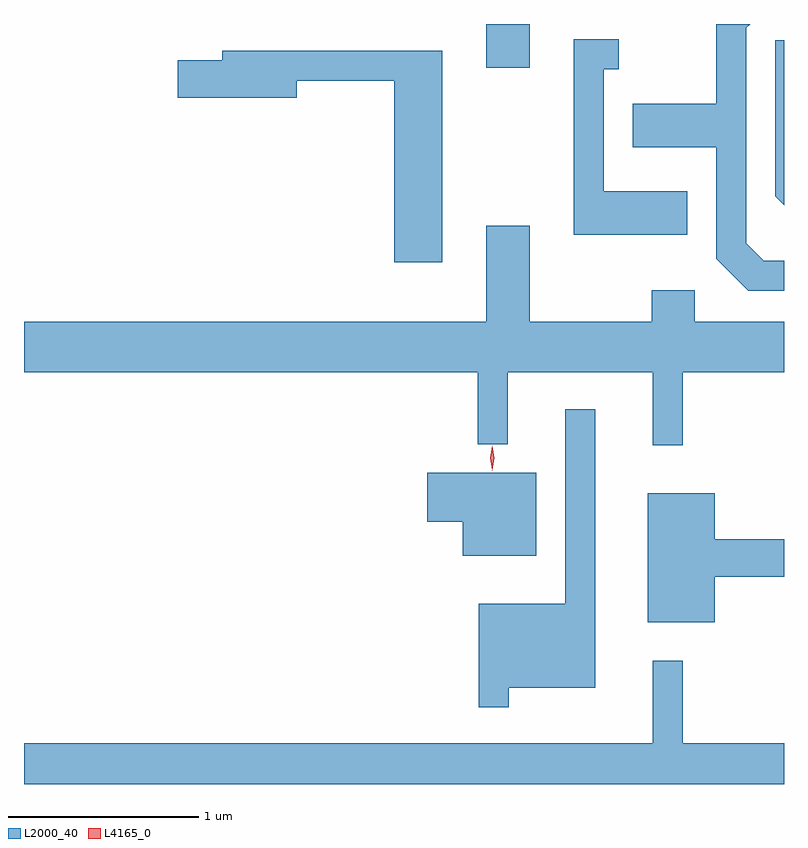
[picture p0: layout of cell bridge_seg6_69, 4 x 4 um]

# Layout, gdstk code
import gdstk
lib = gdstk.Library(unit=1e-6, precision=1e-09)
def R(c, l, rs):  # rectangles x0, y0, x1, y1
    for r in rs: c.add(gdstk.rectangle(r[:2], r[2:], *l))
def P(c, l, *ps):  # polygons
    for p in ps: c.add(gdstk.Polygon(p, *l))
L2000_40 = (2000, 40)
L4165_0 = (4165, 0)

bridge_seg6_69 = lib.new_cell('bridge_seg6_69')
R(bridge_seg6_69, L2000_40, [(1241.791,1624.901,1242.019,1625.13)])
P(bridge_seg6_69, L2000_40, [(1243.358,1623.884),(1243.252,1623.884),(1243.159,1623.977),(1243.159,1625.109),(1243.18,1625.13),(1243.001,1625.13),(1243.001,1624.709),(1242.561,1624.709),(1242.561,1624.481),(1243.001,1624.481),(1243.001,1623.894),(1243.169,1623.726),(1243.358,1623.726)],
  [(1242.849,1624.249),(1242.409,1624.249),(1242.409,1624.891),(1242.488,1624.891),(1242.488,1625.049),(1242.251,1625.049),(1242.251,1624.021),(1242.849,1624.021)],
  [(1243.358,1625.044),(1243.311,1625.044),(1243.311,1624.224),(1243.358,1624.177)],
  [(1241.559,1624.989),(1240.401,1624.989),(1240.401,1624.939),(1240.166,1624.939),(1240.166,1624.741),(1240.794,1624.741),(1240.794,1624.831),(1241.306,1624.831),(1241.306,1623.876),(1241.559,1623.876)],
  [(1242.824,1623.296),(1243.358,1623.296),(1243.358,1623.564),(1242.889,1623.564),(1242.889,1623.729),(1242.661,1623.729),(1242.661,1623.564),(1242.019,1623.564),(1242.019,1624.069),(1241.791,1624.069),(1241.791,1623.564),(1239.358,1623.564),(1239.358,1623.296),(1241.746,1623.296),(1241.746,1622.918),(1241.904,1622.918),(1241.904,1623.296),(1242.666,1623.296),(1242.666,1622.913),(1242.824,1622.913)],
  [(1241.909,1621.636),(1242.364,1621.636),(1242.364,1623.103),(1242.206,1623.103),(1242.206,1622.079),(1241.751,1622.079),(1241.751,1621.533),(1241.909,1621.533)],
  [(1242.054,1622.769),(1241.481,1622.769),(1241.481,1622.511),(1241.666,1622.511),(1241.666,1622.331),(1242.054,1622.331)],
  [(1242.994,1622.221),(1243.358,1622.221),(1243.358,1622.419),(1242.994,1622.419),(1242.994,1622.659),(1242.641,1622.659),(1242.641,1621.981),(1242.994,1621.981)],
  [(1243.358,1621.344),(1242.824,1621.344),(1242.824,1621.778),(1242.666,1621.778),(1242.666,1621.344),(1239.358,1621.344),(1239.358,1621.13),(1243.358,1621.13)])
P(bridge_seg6_69, L4165_0, [(1241.823,1622.78),(1241.822,1622.781),(1241.813,1622.846),(1241.822,1622.911),(1241.823,1622.911),(1241.823,1622.911),(1241.833,1622.846),(1241.823,1622.781)])

lib.write_gds('bridge_seg6_69.gds')
